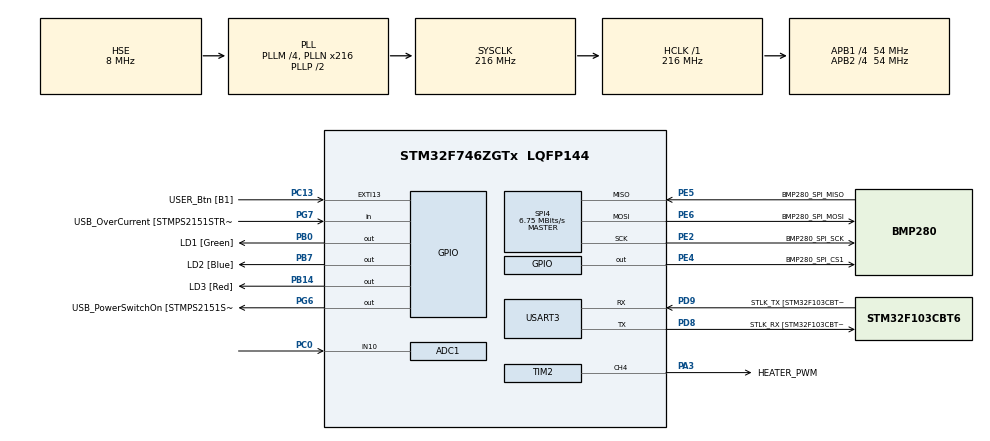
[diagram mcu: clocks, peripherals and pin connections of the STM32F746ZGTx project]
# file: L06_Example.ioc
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ADC1.Channel-0\#ChannelRegularConversion=ADC_CHANNEL_10
ADC1.NbrOfConversionFlag=1
ADC1.Rank-0\#ChannelRegularConversion=1
ADC1.SamplingTime-0\#ChannelRegularConversion=ADC_SAMPLETIME_3CYCLES
ADC1.master=1
Mcu.Family=STM32F7
Mcu.Name=STM32F746ZGTx
Mcu.Package=LQFP144
NVIC.PriorityGroup=NVIC_PRIORITYGROUP_4
NVIC.USART3_IRQn=true\:0\:0\:false\:false\:true\:true\:true\:true
PA1.GPIO_Label=RMII_REF_CLK [LAN8742A-CZ-TR_REFCLK0]
PA1.Signal=ETH_REF_CLK
PA10.GPIO_Label=USB_ID
PA10.Signal=USB_OTG_FS_ID
PA11.GPIO_Label=USB_DM
PA11.Signal=USB_OTG_FS_DM
PA12.GPIO_Label=USB_DP
PA12.Signal=USB_OTG_FS_DP
PA13.GPIO_Label=TMS
PA13.Mode=Serial_Wire
PA13.Signal=SYS_JTMS-SWDIO
PA14.GPIO_Label=TCK
PA14.Mode=Serial_Wire
PA14.Signal=SYS_JTCK-SWCLK
PA2.GPIO_Label=RMII_MDIO [LAN8742A-CZ-TR_MDIO]
PA2.Signal=ETH_MDIO
PA3.GPIO_Label=HEATER_PWM
PA3.Signal=S_TIM2_CH4
PA7.GPIO_Label=RMII_CRS_DV [LAN8742A-CZ-TR_CRS_DV]
PA7.Signal=ETH_CRS_DV
PA8.GPIO_Label=USB_SOF [TP1]
PA8.Signal=USB_OTG_FS_SOF
PA9.GPIO_Label=USB_VBUS
PA9.Signal=USB_OTG_FS_VBUS
PB0.GPIO_Label=LD1 [Green]
PB0.Signal=GPIO_Output
PB13.GPIO_Label=RMII_TXD1 [LAN8742A-CZ-TR_TXD1]
PB13.Signal=ETH_TXD1
PB14.GPIO_Label=LD3 [Red]
PB14.Signal=GPIO_Output
PB3.GPIO_Label=SW0
PB3.Signal=SYS_JTDO-SWO
PB7.GPIO_Label=LD2 [Blue]
PB7.Signal=GPIO_Output
PC0.Signal=ADCx_IN10
PC1.GPIO_Label=RMII_MDC [LAN8742A-CZ-TR_MDC]
PC1.Signal=ETH_MDC
PC13.GPIO_Label=USER_Btn [B1]
PC13.Signal=GPXTI13
PC14/OSC32_IN.Mode=LSE-External-Oscillator
PC14/OSC32_IN.Signal=RCC_OSC32_IN
PC15/OSC32_OUT.Mode=LSE-External-Oscillator
PC15/OSC32_OUT.Signal=RCC_OSC32_OUT
PC4.GPIO_Label=RMII_RXD0 [LAN8742A-CZ-TR_RXD0]
PC4.Signal=ETH_RXD0
PC5.GPIO_Label=RMII_RXD1 [LAN8742A-CZ-TR_RXD1]
PC5.Signal=ETH_RXD1
PD8.GPIO_Label=STLK_RX [STM32F103CBT6_PA3]
PD8.GPIO_PuPd=GPIO_PULLUP
PD8.Mode=Asynchronous
PD8.Signal=USART3_TX
PD9.GPIO_Label=STLK_TX [STM32F103CBT6_PA2]
PD9.GPIO_PuPd=GPIO_PULLUP
PD9.Mode=Asynchronous
PD9.Signal=USART3_RX
PE2.GPIO_Label=BMP280_SPI_SCK
PE2.Mode=Full_Duplex_Master
PE2.Signal=SPI4_SCK
PE4.GPIO_Label=BMP280_SPI_CS1
PE4.Signal=GPIO_Output
PE5.GPIO_Label=BMP280_SPI_MISO
PE5.Mode=Full_Duplex_Master
PE5.Signal=SPI4_MISO
PE6.GPIO_Label=BMP280_SPI_MOSI
PE6.Mode=Full_Duplex_Master
PE6.Signal=SPI4_MOSI
PG11.GPIO_Label=RMII_TX_EN [LAN8742A-CZ-TR_TXEN]
PG11.Signal=ETH_TX_EN
PG13.GPIO_Label=RMII_TXD0 [LAN8742A-CZ-TR_TXD0]
PG13.Signal=ETH_TXD0
PG6.GPIO_Label=USB_PowerSwitchOn [STMPS2151STR_EN]
PG6.Signal=GPIO_Output
PG7.GPIO_Label=USB_OverCurrent [STMPS2151STR_FAULT]
PG7.Signal=GPIO_Input
PH0/OSC_IN.GPIO_Label=MCO [STM32F103CBT6_PA8]
PH0/OSC_IN.Mode=HSE-External-Clock-Source
PH0/OSC_IN.Signal=RCC_OSC_IN
PH1/OSC_OUT.Mode=HSE-External-Clock-Source
PH1/OSC_OUT.Signal=RCC_OSC_OUT
ProjectManager.HeapSize=0x200
ProjectManager.StackSize=0x400
ProjectManager.TargetToolchain=STM32CubeIDE
RCC.48MHZClocksFreq_Value=24000000
RCC.AHBFreq_Value=216000000
RCC.APB1CLKDivider=RCC_HCLK_DIV4
RCC.APB1Freq_Value=54000000
RCC.APB1TimFreq_Value=108000000
RCC.APB2CLKDivider=RCC_HCLK_DIV4
RCC.APB2Freq_Value=54000000
RCC.APB2TimFreq_Value=108000000
RCC.CortexFreq_Value=216000000
RCC.HCLKFreq_Value=216000000
RCC.HSE_VALUE=8000000
RCC.HSI_VALUE=16000000
RCC.PLLM=4
RCC.PLLMUL=RCC_PLL_MUL9
RCC.PLLN=216
RCC.PLLQ=3
RCC.PLLSourceVirtual=RCC_PLLSOURCE_HSE
RCC.PRESCALERUSB=RCC_USBCLKSOURCE_PLL_DIV1_5
RCC.SYSCLKFreq_VALUE=216000000
RCC.SYSCLKSource=RCC_SYSCLKSOURCE_PLLCLK
RCC.SYSCLKSourceVirtual=RCC_SYSCLKSOURCE_PLLCLK
RCC.USBFreq_Value=144000000
RCC.VCOOutputFreq_Value=432000000
SH.ADCx_IN10.0=ADC1_IN10,IN10
SH.S_TIM2_CH4.0=TIM2_CH4,PWM Generation4 CH4
SPI4.BaudRatePrescaler=SPI_BAUDRATEPRESCALER_8
SPI4.CLKPhase=SPI_PHASE_2EDGE
SPI4.CLKPolarity=SPI_POLARITY_HIGH
SPI4.CalculateBaudRate=6.75 MBits/s
SPI4.DataSize=SPI_DATASIZE_8BIT
SPI4.Direction=SPI_DIRECTION_2LINES
SPI4.Mode=SPI_MODE_MASTER
SPI4.VirtualType=VM_MASTER
TIM2.Channel-PWM\ Generation4\ CH4=TIM_CHANNEL_4
TIM2.Period=1000-1
TIM2.Prescaler=108-1
TIM7.Period=9999
TIM7.Prescaler=10799
USART3.VirtualMode-Asynchronous=VM_ASYNC
VP_TIM2_VS_ClockSourceINT.Mode=Internal
VP_TIM7_VS_ClockSourceINT.Mode=Enable_Timer
board=NUCLEO-F746ZG

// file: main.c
/* USER CODE BEGIN Header */
/**
  ******************************************************************************
  * @file           : main.c
  * @brief          : Main program body (AUTO-RESTART UART)
  ******************************************************************************
  */
#define TASK 5
/* USER CODE END Header */

#include "main.h"
#include "spi.h"
#include "tim.h"
#include "usart.h"
#include "gpio.h"
#include "adc.h"

/* USER CODE BEGIN Includes */
#if TASK == 5
#include <stdio.h>
#include <stdlib.h>
#include <math.h>
#include "bmp2_config.h"
#include "heater_config.h"
#endif
/* USER CODE END Includes */

/* USER CODE BEGIN PV */
#if TASK == 5
extern ADC_HandleTypeDef hadc1;

// --- ZMIENNE PROCESU ---
float target_temp = 25.0f;
float current_temp = 0.0f;
float pwm_duty = 0.0f;

// --- PID ---
float Kp = 9.0f;
float Ki = 0.7f;
float error_integral = 0.0f;

// --- POTENCJOMETR ---
float last_pot_temp = 0.0f;
const float POT_THRESHOLD = 0.5f;

// --- KOMUNIKACJA ---
uint8_t rx_byte;
uint8_t rx_buffer[16];
int rx_index = 0;
#endif
/* USER CODE END PV */

void SystemClock_Config(void);

/* USER CODE BEGIN 0 */
#if TASK == 5

int _write(int file, char *ptr, int len)
{
  return (HAL_UART_Transmit(&huart3, (uint8_t*)ptr, len, HAL_MAX_DELAY) == HAL_OK) ? len : -1;
}

// Obsługa błędów UART (restartuje nasłuch)
void HAL_UART_ErrorCallback(UART_HandleTypeDef *huart)
{
    if(huart == &huart3)
    {
        // Wyczyszczenie flag błędów (Overrun, Noise, Frame)
        __HAL_UART_CLEAR_OREFLAG(huart);
        __HAL_UART_CLEAR_NEFLAG(huart);
        __HAL_UART_CLEAR_FEFLAG(huart);

        // Restart
        HAL_UART_Receive_IT(&huart3, &rx_byte, 1);
    }
}

void HAL_UART_RxCpltCallback(UART_HandleTypeDef *huart)
{
 if(huart == &huart3)
 {
   if (rx_byte == '\n' || rx_byte == '\r')
   {
       rx_buffer[rx_index] = 0;
       if(rx_index > 0)
       {
           float val = atof((char*)rx_buffer);
           if(val < 25.0f) val = 25.0f;
           if(val > 40.0f) val = 40.0f;
           target_temp = val;

           // DEBUG: Jeśli to zadziała, zobaczysz to w RealTerm
           printf("[UART OK] Set: %.2f\r\n", target_temp);
       }
       rx_index = 0;
   }
   else
   {
       if(rx_index < 15) rx_buffer[rx_index++] = rx_byte;
   }
   HAL_UART_Receive_IT(&huart3, &rx_byte, 1);
 }
}
#endif
/* USER CODE END 0 */

int main(void)
{
  /* MCU Configuration--------------------------------------------------------*/
  HAL_Init();
  SystemClock_Config();

  MX_GPIO_Init();
  MX_USART3_UART_Init();
  MX_SPI4_Init();
  MX_TIM2_Init();
  MX_TIM7_Init();
  MX_ADC1_Init();

  /* USER CODE BEGIN 2 */
  #if TASK == 5
  printf("\r\n=== SYSTEM START ===\r\n");
  BMP2_Init(&bmp2dev);
  HEATER_PWM_Init(&hheater);
  HAL_TIM_Base_Start(&htim7);

  // Wymuszenie czystego startu UART (usunięcie śmieci z bufora)
  __HAL_UART_CLEAR_OREFLAG(&huart3);
  HAL_UART_Receive_IT(&huart3, &rx_byte, 1);

  // Kalibracja potencjometru
  HAL_ADC_Start(&hadc1);
  if(HAL_ADC_PollForConversion(&hadc1, 10) == HAL_OK) {
      uint32_t raw = HAL_ADC_GetValue(&hadc1);
      last_pot_temp = 25.0f + ((float)raw / 4095.0f) * 15.0f;
  }
  HAL_ADC_Stop(&hadc1);

  int uart_check_counter = 0;
  #endif
  /* USER CODE END 2 */

  /* Infinite loop */
  /* USER CODE BEGIN WHILE */
  while (1)
  {
    #if TASK == 5
    // MECHANIZM SAMONAPRAWY UART (Sprawdzamy co 1000 pętli)
    uart_check_counter++;
    if(uart_check_counter > 100000) {
        // Jeśli UART nie jest w stanie BUSY_RX, to znaczy że przestał słuchać -> Restartujemy go
        if(HAL_UART_GetState(&huart3) == HAL_UART_STATE_READY) {
             HAL_UART_Receive_IT(&huart3, &rx_byte, 1);
        }
        uart_check_counter = 0;
    }

    if(__HAL_TIM_GET_FLAG(&htim7, TIM_FLAG_UPDATE))
    {
      __HAL_TIM_CLEAR_FLAG(&htim7, TIM_FLAG_UPDATE);

      // --- 1. POTENCJOMETR ---
      HAL_ADC_Start(&hadc1);
      if (HAL_ADC_PollForConversion(&hadc1, 2) == HAL_OK)
      {
          uint32_t adc_val = HAL_ADC_GetValue(&hadc1);
          float pot_temp = 25.0f + ((float)adc_val / 4095.0f) * 15.0f;

          if (fabs(pot_temp - last_pot_temp) > POT_THRESHOLD)
          {
              target_temp = pot_temp;
              last_pot_temp = pot_temp;
              printf("[POT] Change: %.2f\r\n", target_temp);
          }
      }
      HAL_ADC_Stop(&hadc1);

      // --- 2. PID ---
      current_temp = BMP2_ReadTemperature_degC(&bmp2dev);
      if(current_temp < -40.0f || current_temp > 125.0f) {
          HEATER_PWM_WriteDuty(&hheater, 0.0f);
          continue;
      }

      float error = target_temp - current_temp;
      if(pwm_duty > 1.0f && pwm_duty < 99.0f) error_integral += error;
      if(error_integral > 100.0f) error_integral = 100.0f;
      if(error_integral < -100.0f) error_integral = -100.0f;

      float output = (Kp * error) + (Ki * error_integral);
      if(output > 100.0f) output = 100.0f;
      if(output < 0.0f) output = 0.0f;
      pwm_duty = output;

      HEATER_PWM_WriteDuty(&hheater, pwm_duty);

      // --- 3. TELEMETRIA ---
      // Czyste CSV
      printf("%.2f,%.2f,%.2f\r\n", target_temp, current_temp, pwm_duty);
    }
    #endif
    /* USER CODE END WHILE */

  }
}

void SystemClock_Config(void)
{
  RCC_OscInitTypeDef RCC_OscInitStruct = {0};
  RCC_ClkInitTypeDef RCC_ClkInitStruct = {0};

  /** Configure LSE Drive Capability
  */
  HAL_PWR_EnableBkUpAccess();

  /** Configure the main internal regulator output voltage
  */
  __HAL_RCC_PWR_CLK_ENABLE();
  __HAL_PWR_VOLTAGESCALING_CONFIG(PWR_REGULATOR_VOLTAGE_SCALE1);

  /** Initializes the RCC Oscillators according to the specified parameters
  * in the RCC_OscInitTypeDef structure.
  */
  RCC_OscInitStruct.OscillatorType = RCC_OSCILLATORTYPE_HSE;
  RCC_OscInitStruct.HSEState = RCC_HSE_BYPASS;
  RCC_OscInitStruct.PLL.PLLState = RCC_PLL_ON;
  RCC_OscInitStruct.PLL.PLLSource = RCC_PLLSOURCE_HSE;
  RCC_OscInitStruct.PLL.PLLM = 4;
  RCC_OscInitStruct.PLL.PLLN = 216;
  RCC_OscInitStruct.PLL.PLLP = RCC_PLLP_DIV2;
  RCC_OscInitStruct.PLL.PLLQ = 3;
  if (HAL_RCC_OscConfig(&RCC_OscInitStruct) != HAL_OK)
  {
    Error_Handler();
  }

  /** Activate the Over-Drive mode
  */
  if (HAL_PWREx_EnableOverDrive() != HAL_OK)
  {
    Error_Handler();
  }

  /** Initializes the CPU, AHB and APB buses clocks
  */
  RCC_ClkInitStruct.ClockType = RCC_CLOCKTYPE_HCLK|RCC_CLOCKTYPE_SYSCLK
                              |RCC_CLOCKTYPE_PCLK1|RCC_CLOCKTYPE_PCLK2;
  RCC_ClkInitStruct.SYSCLKSource = RCC_SYSCLKSOURCE_PLLCLK;
  RCC_ClkInitStruct.AHBCLKDivider = RCC_SYSCLK_DIV1;
  RCC_ClkInitStruct.APB1CLKDivider = RCC_HCLK_DIV4;
  RCC_ClkInitStruct.APB2CLKDivider = RCC_HCLK_DIV4;

  if (HAL_RCC_ClockConfig(&RCC_ClkInitStruct, FLASH_LATENCY_7) != HAL_OK)
  {
    Error_Handler();
  }
}

void Error_Handler(void)
{
  __disable_irq();
  while (1)
  {
  }
}
